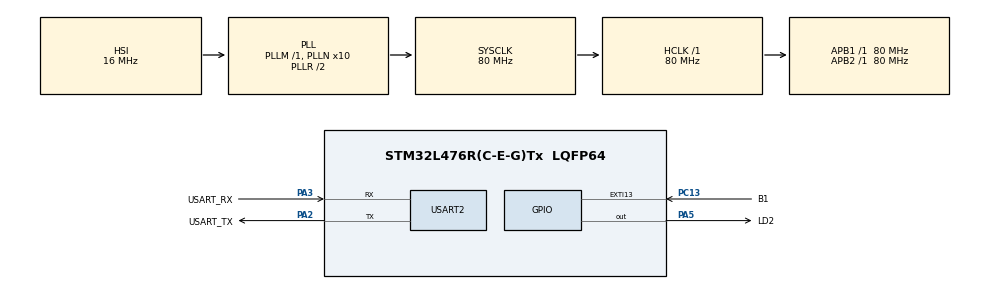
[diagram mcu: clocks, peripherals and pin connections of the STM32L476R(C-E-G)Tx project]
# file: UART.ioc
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Mcu.Family=STM32L4
Mcu.Name=STM32L476R(C-E-G)Tx
Mcu.Package=LQFP64
NVIC.PriorityGroup=NVIC_PRIORITYGROUP_4
PA13\ (JTMS-SWDIO).GPIO_Label=TMS
PA13\ (JTMS-SWDIO).Mode=Serial_Wire
PA13\ (JTMS-SWDIO).Signal=SYS_JTMS-SWDIO
PA14\ (JTCK-SWCLK).GPIO_Label=TCK
PA14\ (JTCK-SWCLK).Mode=Serial_Wire
PA14\ (JTCK-SWCLK).Signal=SYS_JTCK-SWCLK
PA2.GPIO_Label=USART_TX
PA2.GPIO_Mode=GPIO_MODE_AF_PP
PA2.GPIO_PuPd=GPIO_NOPULL
PA2.GPIO_Speed=GPIO_SPEED_FREQ_VERY_HIGH
PA2.Mode=Asynchronous
PA2.Signal=USART2_TX
PA3.GPIO_Label=USART_RX
PA3.GPIO_Mode=GPIO_MODE_AF_PP
PA3.GPIO_PuPd=GPIO_NOPULL
PA3.GPIO_Speed=GPIO_SPEED_FREQ_VERY_HIGH
PA3.Mode=Asynchronous
PA3.Signal=USART2_RX
PA5.GPIO_Label=LD2
PA5.GPIO_ModeDefaultOutputPP=GPIO_MODE_OUTPUT_PP
PA5.GPIO_PuPd=GPIO_NOPULL
PA5.GPIO_Speed=GPIO_SPEED_FREQ_LOW
PA5.Signal=GPIO_Output
PB3\ (JTDO-TRACESWO).GPIO_Label=SWO
PB3\ (JTDO-TRACESWO).Signal=SYS_JTDO-SWO
PC13.GPIO_Label=B1
PC13.GPIO_ModeDefaultEXTI=GPIO_MODE_IT_FALLING
PC13.GPIO_PuPd=GPIO_NOPULL
PC13.Signal=GPXTI13
PC14-OSC32_IN\ (PC14).Mode=LSE-External-Oscillator
PC14-OSC32_IN\ (PC14).Signal=RCC_OSC32_IN
PC15-OSC32_OUT\ (PC15).Mode=LSE-External-Oscillator
PC15-OSC32_OUT\ (PC15).Signal=RCC_OSC32_OUT
PH0-OSC_IN\ (PH0).Signal=RCC_OSC_IN
PH1-OSC_OUT\ (PH1).Signal=RCC_OSC_OUT
ProjectManager.HeapSize=0x200
ProjectManager.StackSize=0x400
ProjectManager.TargetToolchain=STM32CubeIDE
RCC.ADCFreq_Value=64000000
RCC.AHBFreq_Value=80000000
RCC.APB1Freq_Value=80000000
RCC.APB1TimFreq_Value=80000000
RCC.APB2Freq_Value=80000000
RCC.APB2TimFreq_Value=80000000
RCC.CortexFreq_Value=80000000
RCC.HCLKFreq_Value=80000000
RCC.HSE_VALUE=8000000
RCC.HSI_VALUE=16000000
RCC.MSI_VALUE=4000000
RCC.PLLN=10
RCC.PLLSourceVirtual=RCC_PLLSOURCE_HSI
RCC.PREFETCH_ENABLE=1
RCC.SYSCLKFreq_VALUE=80000000
RCC.SYSCLKSource=RCC_SYSCLKSOURCE_PLLCLK
RCC.USBFreq_Value=64000000
RCC.VCOOutputFreq_Value=160000000
USART2.OverrunDisableParam=ADVFEATURE_OVERRUN_DISABLE
USART2.VirtualMode-Asynchronous=VM_ASYNC
board=NUCLEO-L476RG

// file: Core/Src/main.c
/* USER CODE BEGIN Header */
/**
  ******************************************************************************
  * @file           : main.c
  * @brief          : Main program body
  ******************************************************************************
  * @attention
  *
  * Copyright (c) 2023 STMicroelectronics.
  * All rights reserved.
  *
  * This software is licensed under terms that can be found in the LICENSE file
  * in the root directory of this software component.
  * If no LICENSE file comes with this software, it is provided AS-IS.
  *
  ******************************************************************************
  */
/* USER CODE END Header */
#include "main.h"

/* USER CODE BEGIN Includes */
#include <string.h>
#include <stdio.h>
/* USER CODE END Includes */

UART_HandleTypeDef huart2;

void SystemClock_Config(void);
static void MX_GPIO_Init(void);
static void MX_USART2_UART_Init(void);

/* USER CODE BEGIN 0 */
int __io_putchar(int ch)
{
	if(ch == '\n'){
		uint8_t ch2 = '\r';
		HAL_UART_Transmit(&huart2, &ch2, 1, HAL_MAX_DELAY);
	}
	HAL_UART_Transmit(&huart2, (uint8_t*)&ch, 1, HAL_MAX_DELAY);
	return 1;
}
#define LINE_MAX_LENGTH 80
static char line_buffer[LINE_MAX_LENGTH + 1];
static uint32_t line_length;

void line_append(uint8_t value) {
	if (value == '\r' || value == '\n') {
		if (line_length > 0) {
			line_buffer[line_length] = '\0';
			if (strcmp(line_buffer, "wlacz") == 0) {
				HAL_GPIO_WritePin(LD2_GPIO_Port, LD2_Pin, GPIO_PIN_SET);
				printf("Polecenie: %s\n", line_buffer);
			} else if (strcmp(line_buffer, "wylacz") == 0) {
				HAL_GPIO_WritePin(LD2_GPIO_Port, LD2_Pin, GPIO_PIN_RESET);
				printf("Polecenie: %s\n", line_buffer);
			} else {
				printf("Nieznane polecenie:%s\n", line_buffer);
			}
			//printf("Otrzymano: %s\n", line_buffer);
			line_length = 0;
		}
	} else {
		if (line_length >= LINE_MAX_LENGTH) {
			line_length = 0;
		}
		line_buffer[line_length++] = value;
	}
}
/* USER CODE END 0 */

int main(void)
{

  /* MCU Configuration--------------------------------------------------------*/

  /* Reset of all peripherals, Initializes the Flash interface and the Systick. */
  HAL_Init();

  /* Configure the system clock */
  SystemClock_Config();

  /* Initialize all configured peripherals */
  MX_GPIO_Init();
  MX_USART2_UART_Init();
  /* USER CODE BEGIN 2 */
  //const char message[] = "Siema Forbot!\r\n";
  //HAL_UART_Transmit(&huart2, (uint8_t*)message, strlen(message), HAL_MAX_DELAY);
  //printf("Siema Forbot1");
 // printf("Siema Forbot2");
 // printf("Siema Forbot3");
  float pi = 3.14f;
  printf("Liczba pi to:%f\n", pi);
  fflush(stdout);
  /* USER CODE END 2 */

  /* Infinite loop */
  /* USER CODE BEGIN WHILE */
  while (1)
  {
	  uint8_t value;

	 /* if (HAL_UART_Receive(&huart2, &value, 1, 2000) == HAL_OK) {
		  printf("Odebrano: %c\n", value);
	  } else {
		  printf(".");
		  fflush(stdout);
	  }*/
		if (HAL_UART_Receive(&huart2, &value, 1, 0) == HAL_OK) {
			line_append(value);
		}
    /* USER CODE END WHILE */

  }
}

void SystemClock_Config(void)
{
  RCC_OscInitTypeDef RCC_OscInitStruct = {0};
  RCC_ClkInitTypeDef RCC_ClkInitStruct = {0};

  /** Configure the main internal regulator output voltage
  */
  if (HAL_PWREx_ControlVoltageScaling(PWR_REGULATOR_VOLTAGE_SCALE1) != HAL_OK)
  {
    Error_Handler();
  }

  /** Initializes the RCC Oscillators according to the specified parameters
  * in the RCC_OscInitTypeDef structure.
  */
  RCC_OscInitStruct.OscillatorType = RCC_OSCILLATORTYPE_HSI;
  RCC_OscInitStruct.HSIState = RCC_HSI_ON;
  RCC_OscInitStruct.HSICalibrationValue = RCC_HSICALIBRATION_DEFAULT;
  RCC_OscInitStruct.PLL.PLLState = RCC_PLL_ON;
  RCC_OscInitStruct.PLL.PLLSource = RCC_PLLSOURCE_HSI;
  RCC_OscInitStruct.PLL.PLLM = 1;
  RCC_OscInitStruct.PLL.PLLN = 10;
  RCC_OscInitStruct.PLL.PLLP = RCC_PLLP_DIV7;
  RCC_OscInitStruct.PLL.PLLQ = RCC_PLLQ_DIV2;
  RCC_OscInitStruct.PLL.PLLR = RCC_PLLR_DIV2;
  if (HAL_RCC_OscConfig(&RCC_OscInitStruct) != HAL_OK)
  {
    Error_Handler();
  }

  /** Initializes the CPU, AHB and APB buses clocks
  */
  RCC_ClkInitStruct.ClockType = RCC_CLOCKTYPE_HCLK|RCC_CLOCKTYPE_SYSCLK
                              |RCC_CLOCKTYPE_PCLK1|RCC_CLOCKTYPE_PCLK2;
  RCC_ClkInitStruct.SYSCLKSource = RCC_SYSCLKSOURCE_PLLCLK;
  RCC_ClkInitStruct.AHBCLKDivider = RCC_SYSCLK_DIV1;
  RCC_ClkInitStruct.APB1CLKDivider = RCC_HCLK_DIV1;
  RCC_ClkInitStruct.APB2CLKDivider = RCC_HCLK_DIV1;

  if (HAL_RCC_ClockConfig(&RCC_ClkInitStruct, FLASH_LATENCY_4) != HAL_OK)
  {
    Error_Handler();
  }
}

static void MX_USART2_UART_Init(void)
{

  huart2.Instance = USART2;
  huart2.Init.BaudRate = 115200;
  huart2.Init.WordLength = UART_WORDLENGTH_8B;
  huart2.Init.StopBits = UART_STOPBITS_1;
  huart2.Init.Parity = UART_PARITY_NONE;
  huart2.Init.Mode = UART_MODE_TX_RX;
  huart2.Init.HwFlowCtl = UART_HWCONTROL_NONE;
  huart2.Init.OverSampling = UART_OVERSAMPLING_16;
  huart2.Init.OneBitSampling = UART_ONE_BIT_SAMPLE_DISABLE;
  huart2.AdvancedInit.AdvFeatureInit = UART_ADVFEATURE_RXOVERRUNDISABLE_INIT;
  huart2.AdvancedInit.OverrunDisable = UART_ADVFEATURE_OVERRUN_DISABLE;
  if (HAL_UART_Init(&huart2) != HAL_OK)
  {
    Error_Handler();
  }

}

static void MX_GPIO_Init(void)
{
  GPIO_InitTypeDef GPIO_InitStruct = {0};

  /* GPIO Ports Clock Enable */
  __HAL_RCC_GPIOC_CLK_ENABLE();
  __HAL_RCC_GPIOH_CLK_ENABLE();
  __HAL_RCC_GPIOA_CLK_ENABLE();
  __HAL_RCC_GPIOB_CLK_ENABLE();

  /*Configure GPIO pin Output Level */
  HAL_GPIO_WritePin(LD2_GPIO_Port, LD2_Pin, GPIO_PIN_RESET);

  /*Configure GPIO pin : B1_Pin */
  GPIO_InitStruct.Pin = B1_Pin;
  GPIO_InitStruct.Mode = GPIO_MODE_IT_FALLING;
  GPIO_InitStruct.Pull = GPIO_NOPULL;
  HAL_GPIO_Init(B1_GPIO_Port, &GPIO_InitStruct);

  /*Configure GPIO pin : LD2_Pin */
  GPIO_InitStruct.Pin = LD2_Pin;
  GPIO_InitStruct.Mode = GPIO_MODE_OUTPUT_PP;
  GPIO_InitStruct.Pull = GPIO_NOPULL;
  GPIO_InitStruct.Speed = GPIO_SPEED_FREQ_LOW;
  HAL_GPIO_Init(LD2_GPIO_Port, &GPIO_InitStruct);

}

void Error_Handler(void)
{
  __disable_irq();
  while (1)
  {
  }
}
